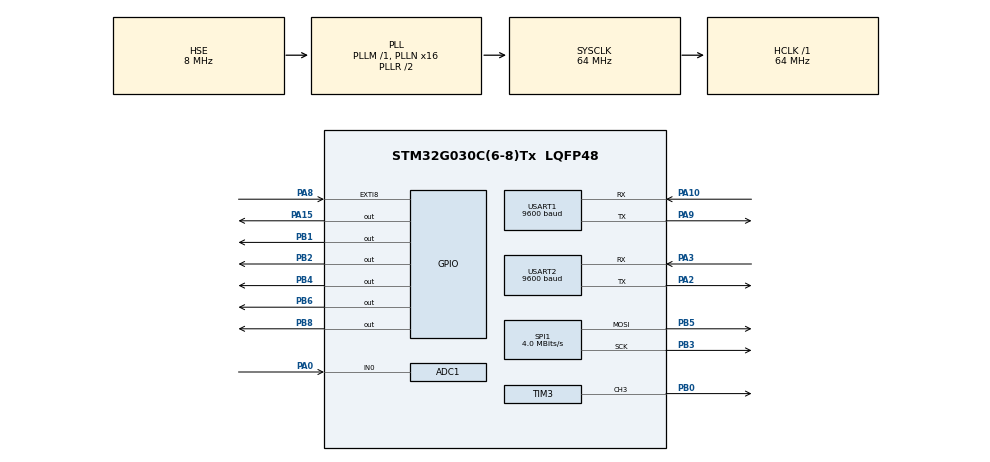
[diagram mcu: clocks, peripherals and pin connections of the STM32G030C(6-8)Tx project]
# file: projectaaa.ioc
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ADC1.ContinuousConvMode=ENABLE
ADC1.NbrOfConversion=1
ADC1.NbrOfConversionFlag=0
ADC1.SamplingTimeCommon1=ADC_SAMPLETIME_160CYCLES_5
ADC1.SelectedChannel=ADC_CHANNEL_0
ADC1.Sequencer=NOT_FULLY_CONFIGURABLE
ADC1.master=1
FREERTOS.BinarySemaphores01=myBinarySem01,Dynamic,NULL;myBinarySem02,Dynamic,NULL
FREERTOS.Tasks01=defaultTask,0,128,StartDefaultTask,Default,NULL,Dynamic,NULL,NULL;myTask02,0,128,StartTask02,Default,NULL,Dynamic,NULL,NULL;myTask03,3,128,StartTask03,Default,NULL,Dynamic,NULL,NULL
FREERTOS.Timers01=myTimer01,Callback01,osTimerPeriodic,Default,NULL,Dynamic,NULL
FREERTOS.configMINIMAL_STACK_SIZE=120
FREERTOS.configTOTAL_HEAP_SIZE=4096
FREERTOS.configUSE_TIMERS=1
Mcu.Family=STM32G0
Mcu.Name=STM32G030C(6-8)Tx
Mcu.Package=LQFP48
NVIC.EXTI4_15_IRQn=true\:3\:0\:false\:false\:true\:true\:true\:true\:true
NVIC.TIM14_IRQn=true\:3\:0\:false\:false\:true\:false\:false\:true\:true
NVIC.TimeBase=TIM14_IRQn
NVIC.TimeBaseIP=TIM14
NVIC.USART1_IRQn=true\:3\:0\:false\:false\:true\:true\:true\:true\:true
PA0.Mode=IN0
PA0.Signal=ADC1_IN0
PA10.Mode=Asynchronous
PA10.Signal=USART1_RX
PA13.Mode=Serial_Wire
PA13.Signal=SYS_SWDIO
PA14-BOOT0.Mode=Serial_Wire
PA14-BOOT0.Signal=SYS_SWCLK
PA15.Signal=GPIO_Output
PA2.Mode=Asynchronous
PA2.Signal=USART2_TX
PA3.Mode=Asynchronous
PA3.Signal=USART2_RX
PA8.Signal=GPXTI8
PA9.Mode=Asynchronous
PA9.Signal=USART1_TX
PB0.Signal=S_TIM3_CH3
PB1.Signal=GPIO_Output
PB2.Signal=GPIO_Output
PB3.Mode=TX_Only_Simplex_Unidirect_Master
PB3.Signal=SPI1_SCK
PB4.Signal=GPIO_Output
PB5.Mode=TX_Only_Simplex_Unidirect_Master
PB5.Signal=SPI1_MOSI
PB6.Signal=GPIO_Output
PB8.PinState=GPIO_PIN_SET
PB8.Signal=GPIO_Output
PF0-OSC_IN\ (PF0).Mode=HSE-External-Oscillator
PF0-OSC_IN\ (PF0).Signal=RCC_OSC_IN
PF1-OSC_OUT\ (PF1).Mode=HSE-External-Oscillator
PF1-OSC_OUT\ (PF1).Signal=RCC_OSC_OUT
ProjectManager.HeapSize=0x200
ProjectManager.StackSize=0x400
ProjectManager.TargetToolchain=MDK-ARM V5
RCC.ADCFreq_Value=64000000
RCC.AHBFreq_Value=64000000
RCC.CortexFreq_Value=64000000
RCC.EXTERNAL_CLOCK_VALUE=12288000
RCC.HCLKFreq_Value=64000000
RCC.HSE_VALUE=8000000
RCC.HSI_VALUE=16000000
RCC.LSE_VALUE=32768
RCC.PLLN=16
RCC.PLLSourceVirtual=RCC_PLLSOURCE_HSE
RCC.SYSCLKFreq_VALUE=64000000
RCC.SYSCLKSource=RCC_SYSCLKSOURCE_PLLCLK
RCC.VCOOutputFreq_Value=128000000
RTC.Date=12
RTC.Month=RTC_MONTH_SEPTEMBER
RTC.WeekDay=RTC_WEEKDAY_THURSDAY
RTC.Year=24
SH.S_TIM3_CH3.0=TIM3_CH3,PWM Generation3 CH3
SPI1.BaudRatePrescaler=SPI_BAUDRATEPRESCALER_16
SPI1.CalculateBaudRate=4.0 MBits/s
SPI1.Direction=SPI_DIRECTION_2LINES
SPI1.Mode=SPI_MODE_MASTER
SPI1.VirtualType=VM_MASTER
TIM16.Prescaler=63
TIM3.AutoReloadPreload=TIM_AUTORELOAD_PRELOAD_ENABLE
TIM3.Channel-PWM\ Generation3\ CH3=TIM_CHANNEL_3
TIM3.OCMode_PWM-PWM\ Generation3\ CH3=TIM_OCMODE_PWM2
TIM3.Period=1000
TIM3.Prescaler=63
USART1.BaudRate=9600
USART1.VirtualMode-Asynchronous=VM_ASYNC
USART2.BaudRate=9600
USART2.VirtualMode-Asynchronous=VM_ASYNC
VP_FREERTOS_VS_CMSIS_V1.Mode=CMSIS_V1
VP_RTC_VS_RTC_Activate.Mode=RTC_Enabled
VP_RTC_VS_RTC_Calendar.Mode=RTC_Calendar
VP_SYS_VS_tim14.Mode=TIM14
VP_TIM16_VS_ClockSourceINT.Mode=Enable_Timer
board=custom

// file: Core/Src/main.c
/* USER CODE BEGIN Header */
/**
  ******************************************************************************
  * @file           : main.c
  * @brief          : Main program body
  ******************************************************************************
  * @attention
  *
  * Copyright (c) 2024 STMicroelectronics.
  * All rights reserved.
  *
  * This software is licensed under terms that can be found in the LICENSE file
  * in the root directory of this software component.
  * If no LICENSE file comes with this software, it is provided AS-IS.
  *
  ******************************************************************************
  */
/* USER CODE END Header */
#include "main.h"
#include "cmsis_os.h"
#include "adc.h"
#include "rtc.h"
#include "spi.h"
#include "tim.h"
#include "usart.h"
#include "gpio.h"

/* USER CODE BEGIN Includes */
#include "stdio.h"
#include "string.h"
#include "lcddemo.h"
/* USER CODE END Includes */

/* USER CODE BEGIN PD */
//RTC_TimeTypeDef ctime;
//RTC_DateTypeDef cdate;
/* USER CODE END PD */

/* USER CODE BEGIN PM */
char keyFlag = 0;
void HAL_GPIO_EXTI_Rising_Callback(uint16_t GPIO_Pin)// 外中断8 的回调函数
{
	if(GPIO_Pin == GPIO_PIN_8) //判断是否是 8 号外中断
	{
		keyFlag = 1;

	}
}
//printf("%d\r\n",keyFlag);
/* USER CODE END PM */

/* USER CODE BEGIN PV */
//int fputc(int c, FILE *f)
//{
//	unsigned char tmp = c;
//	HAL_UART_Transmit(&huart1,&tmp,1,0xffff);
//
//	return c;
//}
/* USER CODE END PV */

void SystemClock_Config(void);
void MX_FREERTOS_Init(void);

int main(void)
{

  /* MCU Configuration--------------------------------------------------------*/

  /* Reset of all peripherals, Initializes the Flash interface and the Systick. */
  HAL_Init();

  /* Configure the system clock */
  SystemClock_Config();

  /* Initialize all configured peripherals */
  MX_GPIO_Init();
  MX_ADC1_Init();
  MX_RTC_Init();
  MX_SPI1_Init();
  MX_USART1_UART_Init();
  MX_USART2_UART_Init();
  MX_TIM3_Init();
  MX_TIM16_Init();
  /* USER CODE BEGIN 2 */
	lcdInit();
	Lcd_Clear(0xffff);

	MX_GPIO_Init();
  MX_TIM3_Init();
  HAL_TIM_PWM_Start(&htim3,TIM_CHANNEL_3);
  /* USER CODE END 2 */

  /* Call init function for freertos objects (in freertos.c) */
  MX_FREERTOS_Init();

  /* Start scheduler */
  osKernelStart();

  /* We should never get here as control is now taken by the scheduler */
  /* Infinite loop */
  while (1)
  {

  }
}

void SystemClock_Config(void)
{
  RCC_OscInitTypeDef RCC_OscInitStruct = {0};
  RCC_ClkInitTypeDef RCC_ClkInitStruct = {0};

  /** Configure the main internal regulator output voltage
  */
  HAL_PWREx_ControlVoltageScaling(PWR_REGULATOR_VOLTAGE_SCALE1);

  /** Initializes the RCC Oscillators according to the specified parameters
  * in the RCC_OscInitTypeDef structure.
  */
  RCC_OscInitStruct.OscillatorType = RCC_OSCILLATORTYPE_LSI|RCC_OSCILLATORTYPE_HSE;
  RCC_OscInitStruct.HSEState = RCC_HSE_ON;
  RCC_OscInitStruct.LSIState = RCC_LSI_ON;
  RCC_OscInitStruct.PLL.PLLState = RCC_PLL_ON;
  RCC_OscInitStruct.PLL.PLLSource = RCC_PLLSOURCE_HSE;
  RCC_OscInitStruct.PLL.PLLM = RCC_PLLM_DIV1;
  RCC_OscInitStruct.PLL.PLLN = 16;
  RCC_OscInitStruct.PLL.PLLP = RCC_PLLP_DIV2;
  RCC_OscInitStruct.PLL.PLLR = RCC_PLLR_DIV2;
  if (HAL_RCC_OscConfig(&RCC_OscInitStruct) != HAL_OK)
  {
    Error_Handler();
  }

  /** Initializes the CPU, AHB and APB buses clocks
  */
  RCC_ClkInitStruct.ClockType = RCC_CLOCKTYPE_HCLK|RCC_CLOCKTYPE_SYSCLK
                              |RCC_CLOCKTYPE_PCLK1;
  RCC_ClkInitStruct.SYSCLKSource = RCC_SYSCLKSOURCE_PLLCLK;
  RCC_ClkInitStruct.AHBCLKDivider = RCC_SYSCLK_DIV1;
  RCC_ClkInitStruct.APB1CLKDivider = RCC_HCLK_DIV1;

  if (HAL_RCC_ClockConfig(&RCC_ClkInitStruct, FLASH_LATENCY_2) != HAL_OK)
  {
    Error_Handler();
  }
}

void HAL_TIM_PeriodElapsedCallback(TIM_HandleTypeDef *htim)
{
  if (htim->Instance == TIM14) {
    HAL_IncTick();
  }
}

void Error_Handler(void)
{
  __disable_irq();
  while (1)
  {
  }
}

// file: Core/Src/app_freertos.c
/* USER CODE BEGIN Header */
/**
  ******************************************************************************
  * File Name          : app_freertos.c
  * Description        : Code for freertos applications
  ******************************************************************************
  * @attention
  *
  * Copyright (c) 2024 STMicroelectronics.
  * All rights reserved.
  *
  * This software is licensed under terms that can be found in the LICENSE file
  * in the root directory of this software component.
  * If no LICENSE file comes with this software, it is provided AS-IS.
  *
  ******************************************************************************
  */
/* USER CODE END Header */

#include "FreeRTOS.h"
#include "task.h"
#include "main.h"
#include "cmsis_os.h"

/* USER CODE BEGIN Includes */
#include "lcddemo.h"
#include "gpio.h"
#include "adc.h"
#include "tim.h"
#include "usart.h"
#include "stdio.h"
/* USER CODE END Includes */

/* USER CODE BEGIN PTD */
extern char keyFlag;
unsigned int adcValue = 0;
char ledchange = 0;
int fputc(int c, FILE *f)
{
	unsigned char tmp = c;
	HAL_UART_Transmit(&huart1,&tmp,1,0xffff);

	return c;
}
//void HAL_GPIO_EXTI_Rising_Callback(uint16_t GPIO_Pin)// 外中断8 的回调函数
//{
//	if(GPIO_Pin == GPIO_PIN_8) //判断是否是 8 号外中断
//	{
//		keyFlag = 1;
//	}
//}
//extern char keyFlag;

#define KEY_UP 100
#define KEY_DOWN 101
#define KEY_LEFT 102
#define KEY_RIGHT 103
#define KEY_PUSH 104

int keycode= 0;

//int getKey(unsigned int val)
//{
//	if(val < 1000)
//		return KEY_DOWN;
//	else if(val < 1800)
//		return KEY_LEFT;
//	if(val < 2300)
//		return KEY_UP;
//	if(val < 2700)
//		return KEY_PUSH;
//	else
//		return KEY_RIGHT;
//

//}

unsigned int dmaBuf[] = {0}; //保存通道0  通道4 的转换结果
volatile char adcDmaEndFlag = 0; // 1------ adc的dma方式结束了
void HAL_ADC_ConvCpltCallback (ADC_HandleTypeDef *hadc)
{
	adcDmaEndFlag = 1;
}
/* USER CODE END PTD */

osThreadId defaultTaskHandle;
osThreadId myTask02Handle;
osThreadId myTask03Handle;
osTimerId myTimer01Handle;
osSemaphoreId myBinarySem01Handle;
osSemaphoreId myBinarySem02Handle;

void StartDefaultTask(void const * argument);
void StartTask02(void const * argument);
void StartTask03(void const * argument);
void Callback01(void const * argument);

void MX_FREERTOS_Init(void); /* (MISRA C 2004 rule 8.1) */

void MX_FREERTOS_Init(void) {

  /* Create the semaphores(s) */
  /* definition and creation of myBinarySem01 */
  osSemaphoreDef(myBinarySem01);
  myBinarySem01Handle = osSemaphoreCreate(osSemaphore(myBinarySem01), 1);

  /* definition and creation of myBinarySem02 */
  osSemaphoreDef(myBinarySem02);
  myBinarySem02Handle = osSemaphoreCreate(osSemaphore(myBinarySem02), 1);

  /* Create the timer(s) */
  /* definition and creation of myTimer01 */
  osTimerDef(myTimer01, Callback01);
  myTimer01Handle = osTimerCreate(osTimer(myTimer01), osTimerPeriodic, NULL);

  /* Create the thread(s) */
  /* definition and creation of defaultTask */
  osThreadDef(defaultTask, StartDefaultTask, osPriorityNormal, 0, 128);
  defaultTaskHandle = osThreadCreate(osThread(defaultTask), NULL);

  /* definition and creation of myTask02 */
  osThreadDef(myTask02, StartTask02, osPriorityNormal, 0, 128);
  myTask02Handle = osThreadCreate(osThread(myTask02), NULL);

  /* definition and creation of myTask03 */
  osThreadDef(myTask03, StartTask03, osPriorityRealtime, 0, 128);
  myTask03Handle = osThreadCreate(osThread(myTask03), NULL);

}

void StartDefaultTask(void const * argument)
{
  /* USER CODE BEGIN StartDefaultTask */
  /* Infinite loop */
   //osTimerStart(myTimer01Handle,1000);
	for(;;)
  {
	  //lcdyemian();

	  osSemaphoreWait(myBinarySem01Handle,0xffff);
//	  lcdyemian();
//	  osDelay(1000);
//	  if(HAL_GPIO_ReadPin(GPIOA,GPIO_PIN_8) == GPIO_PIN_SET)
//	  {
//		osDelay(10);
//		  if(HAL_GPIO_ReadPin(GPIOA,GPIO_PIN_8) == GPIO_PIN_SET)
//		  {
//
//			          HAL_ADC_Start(&hadc1);
//                        HAL_ADC_PollForConversion(&hadc1, 0xffff);
//                        adcValue = HAL_ADC_GetValue(&hadc1);
//                        HAL_ADC_Stop(&hadc1);
//			  adcDmaEndFlag = 0;
//			HAL_ADC_Start_DMA(&hadc1,dmaBuf,2);
//				while(adcDmaEndFlag == 0)   ; // 直至adcDmaEndFlag 为1
//
//			//dmaBuf[0] 就是五向键的adc
//				adcValue = dmaBuf[0];
//			HAL_ADC_Stop_DMA(&hadc1); //
//			  while(1)
//			  {
//				  HAL_ADC_Start(&hadc1);
//                        HAL_ADC_PollForConversion(&hadc1, 0xffff);
//                        adcValue = HAL_ADC_GetValue(&hadc1);
//                        HAL_ADC_Stop(&hadc1);
//				  lcdcaidan();
//				  osDelay(10000);
//				  adcDmaEndFlag = 0;
//			HAL_ADC_Start_DMA(&hadc1,dmaBuf,2);
//				while(adcDmaEndFlag == 0)   ; // 直至adcDmaEndFlag 为1
//
//			//dmaBuf[0] 就是五向键的adc
//				adcValue = dmaBuf[0];
//			HAL_ADC_Stop_DMA(&hadc1); //
//				keycode = getKey(adcValue); //根据每个键的adc的不同， 区分是哪个键按下
//				if(KEY_PUSH == keycode)
//				{
//					lcdcaidan();
//				}
//				else if(KEY_UP == keycode)
//				{
//					HAL_GPIO_WritePin(GPIOB, GPIO_PIN_1|GPIO_PIN_2,GPIO_PIN_RESET);
//				}
//				else if(KEY_DOWN == keycode)
//				{
//					HAL_GPIO_WritePin(GPIOB, GPIO_PIN_1|GPIO_PIN_2,GPIO_PIN_SET);
//				}
//				else if(KEY_LEFT == keycode)
//				{
//					ledchange = 1;
//				}
//				else if(KEY_RIGHT == keycode)
//				{
//					ledchange = 0;
//				}
//				else if(KEY_PUSH == keycode)
//				{
//					break;
//				}
//			  }
//			adcDmaEndFlag = 0;
//			HAL_ADC_Start_DMA(&hadc1,dmaBuf,2);
//				while(adcDmaEndFlag == 0)   ; // 直至adcDmaEndFlag 为1
//
//			//dmaBuf[0] 就是五向键的adc
//				adcValue = dmaBuf[0];
//			HAL_ADC_Stop_DMA(&hadc1); //
//
//			keycode = getKey(adcValue); //根据每个键的adc的不同， 区分是哪个键按下
//				if(KEY_PUSH == keycode)
//				{
//					lcdcaidan();
//				}
//				else if(KEY_UP == keycode)
//				{
//					HAL_GPIO_WritePin(GPIOB, GPIO_PIN_1|GPIO_PIN_2,GPIO_PIN_RESET);
//				}
//				else if(KEY_DOWN == keycode)
//				{
//					HAL_GPIO_WritePin(GPIOB, GPIO_PIN_1|GPIO_PIN_2,GPIO_PIN_SET);
//				}
//				else if(KEY_LEFT == keycode)
//				{
//					ledchange = 1;
//				}
//				else if(KEY_RIGHT == keycode)
//				{
//					ledchange = 0;
//				}
//
//		  }
//	  }
	while(1)
	{
		lcdyemian();
	  osDelay(1000);
		if(keyFlag == 1)
		{
			HAL_Delay(10); //  延时消抖
			if(HAL_GPIO_ReadPin(GPIOA,GPIO_PIN_8) == GPIO_PIN_SET)
			{
				HAL_ADCEx_Calibration_Start(&hadc1);
                            HAL_ADC_Start(&hadc1);
              HAL_ADC_PollForConversion(&hadc1, 0xffff);
              adcValue = HAL_ADC_GetValue(&hadc1);
              HAL_ADC_Stop(&hadc1);
                   keycode = getKey(adcValue);
//				adcDmaEndFlag = 0;
//			HAL_ADC_Start_DMA(&hadc1,dmaBuf,1);
//				while(adcDmaEndFlag == 0)   ; // 直至adcDmaEndFlag 为1
//
//			//dmaBuf[0] 就是五向键的adc
//				adcValue = dmaBuf[0];
//			HAL_ADC_Stop_DMA(&hadc1); //
//
//			keycode = getKey(adcValue); //根据每个键的adc的不同， 区分是哪个键按下
				if(KEY_PUSH == keycode)
				{
					menu();
					lcdyemian();
				}
				else if(KEY_UP == keycode)
				{
					HAL_GPIO_WritePin(GPIOB, GPIO_PIN_1|GPIO_PIN_2,GPIO_PIN_RESET);
				}
				else if(KEY_DOWN == keycode)
				{
					HAL_GPIO_WritePin(GPIOB, GPIO_PIN_1|GPIO_PIN_2,GPIO_PIN_SET);
				}
				else if(KEY_LEFT == keycode)
				{
					ledchange = 1;
				}
				else if(KEY_RIGHT == keycode)
				{
					ledchange = 0;
				}
			}
//
//			keyFlag = 0;
		}
	}
	osSemaphoreRelease(myBinarySem01Handle);
    osDelay(1);
 }
  /* USER CODE END StartDefaultTask */
}

void StartTask02(void const * argument)
{
  /* USER CODE BEGIN StartTask02 */
  /* Infinite loop */
  for(;;)
  {
		//osSemaphoreWait(myBinarySem01Handle,0xffff);
//		adcDmaEndFlag = 0;
//		HAL_ADC_Start_DMA(&hadc1,dmaBuf,2);
//		while(adcDmaEndFlag == 0) ; // 直至adcDmaEndFlag 为1
//
//			//dmaBuf[0] 就是五向键的adc
//		adcValue = dmaBuf[0];
//		HAL_ADC_Stop_DMA(&hadc1); //
//	   HAL_ADC_Start(&hadc1);
//       HAL_ADC_PollForConversion(&hadc1, 0xffff);
//        adcValue = HAL_ADC_GetValue(&hadc1);
//                        HAL_ADC_Stop(&hadc1);
//	  keycode = getKey(adcValue); //根据每个键的adc的不同， 区分是哪个键按下
//				if(KEY_PUSH == keycode)
//				{
//					lcdcaidan();
//				}
//				else if(KEY_UP == keycode)
//				{
//					HAL_GPIO_WritePin(GPIOB, GPIO_PIN_1|GPIO_PIN_2,GPIO_PIN_RESET);
//				}
//				else if(KEY_DOWN == keycode)
//				{
//					HAL_GPIO_WritePin(GPIOB, GPIO_PIN_1|GPIO_PIN_2,GPIO_PIN_SET);
//				}
//				else if(KEY_LEFT == keycode)
//				{
//					ledchange = 1;
//				}
//				else if(KEY_RIGHT == keycode)
//				{
//					ledchange = 0;
//				}
	  if(ledchange == 1)
	{
		for(int i; i<100 ;i++)
		{
			__HAL_TIM_SET_COMPARE(&htim3,TIM_CHANNEL_3,i*2);
			osDelay(30);
		}

		for(int i = 100;i>0;i--)
		{
			__HAL_TIM_SET_COMPARE(&htim3,TIM_CHANNEL_3,i*2);
			osDelay(30);
		}

	  }
//	if(ledchange == 0)
//	{
//		__HAL_TIM_SET_COMPARE(&htim3,TIM_CHANNEL_3,0);
//	}
	//osSemaphoreRelease(myBinarySem01Handle);
    osDelay(1);
  }
  /* USER CODE END StartTask02 */
}

void StartTask03(void const * argument)
{
  /* USER CODE BEGIN StartTask03 */
  /* Infinite loop */
  for(;;)
  {

	dht11get();

	osDelay(1000);
	  osDelay(1);

  }
  /* USER CODE END StartTask03 */
}

/* Callback01 function */
void Callback01(void const * argument)
{
  /* USER CODE BEGIN Callback01 */
	//printf("123\r\n");
  /* USER CODE END Callback01 */
}
